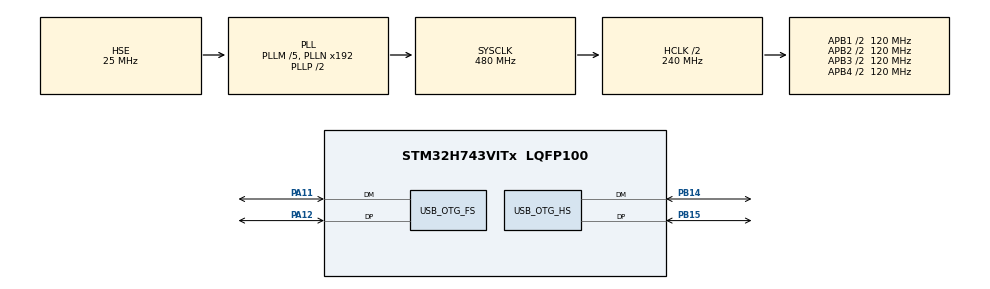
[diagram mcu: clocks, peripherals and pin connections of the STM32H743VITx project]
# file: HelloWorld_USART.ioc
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CORTEX_M7.default_mode_Activation=1
Mcu.Family=STM32H7
Mcu.Name=STM32H743VITx
Mcu.Package=LQFP100
NVIC.OTG_FS_IRQn=true\:0\:0\:false\:false\:true\:false\:true\:true
NVIC.OTG_HS_IRQn=true\:0\:0\:false\:false\:true\:false\:true\:true
NVIC.PriorityGroup=NVIC_PRIORITYGROUP_4
NVIC.TIM6_DAC_IRQn=true\:15\:0\:false\:false\:true\:false\:true\:true
NVIC.TimeBase=TIM6_DAC_IRQn
NVIC.TimeBaseIP=TIM6
PA11.Mode=Device_Only
PA11.Signal=USB_OTG_FS_DM
PA12.Mode=Device_Only
PA12.Signal=USB_OTG_FS_DP
PB14.Mode=Device_Only_FS
PB14.Signal=USB_OTG_HS_DM
PB15.Mode=Device_Only_FS
PB15.Signal=USB_OTG_HS_DP
PH0-OSC_IN\ (PH0).Mode=HSE-External-Oscillator
PH0-OSC_IN\ (PH0).Signal=RCC_OSC_IN
PH1-OSC_OUT\ (PH1).Mode=HSE-External-Oscillator
PH1-OSC_OUT\ (PH1).Signal=RCC_OSC_OUT
ProjectManager.HeapSize=0x200
ProjectManager.StackSize=0x400
ProjectManager.TargetToolchain=STM32CubeIDE
RCC.ADCFreq_Value=50390625
RCC.APB1Freq_Value=120000000
RCC.APB2Freq_Value=120000000
RCC.APB3Freq_Value=120000000
RCC.APB4Freq_Value=120000000
RCC.CortexFreq_Value=480000000
RCC.D1PPRE=RCC_APB3_DIV2
RCC.D2PPRE1=RCC_APB1_DIV2
RCC.D2PPRE2=RCC_APB2_DIV2
RCC.D3PPRE=RCC_APB4_DIV2
RCC.DIVM1=5
RCC.DIVN1=192
RCC.DIVQ1=20
RCC.HCLKFreq_Value=240000000
RCC.HPRE=RCC_HCLK_DIV2
RCC.HSE_VALUE=25000000
RCC.PLL2FRACN=0
RCC.PLL3FRACN=0
RCC.PLLFRACN=0
RCC.PLLSourceVirtual=RCC_PLLSOURCE_HSE
RCC.SYSCLKFreq_VALUE=480000000
RCC.SYSCLKSource=RCC_SYSCLKSOURCE_PLLCLK
RCC.USBFreq_Value=48000000
USB_DEVICE.CLASS_NAME_FS=CDC
USB_DEVICE.CLASS_NAME_HS=CDC
USB_DEVICE.VirtualMode-CDC_FS=Cdc
USB_DEVICE.VirtualMode-CDC_HS=Cdc
USB_DEVICE.VirtualModeFS=Cdc_FS
USB_DEVICE.VirtualModeHS=Cdc_HS
USB_OTG_FS.VirtualMode=Device_Only
USB_OTG_HS.VirtualMode-Device_Only_FS=Device_Only_FS
VP_MEMORYMAP_VS_MEMORYMAP.Mode=CurAppReg
VP_SYS_VS_tim6.Mode=TIM6
VP_USB_DEVICE_VS_USB_DEVICE_CDC_FS.Mode=CDC_FS
VP_USB_DEVICE_VS_USB_DEVICE_CDC_HS.Mode=CDC_HS
board=custom

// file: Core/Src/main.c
/* USER CODE BEGIN Header */
/**
 ******************************************************************************
 * @file           : main.c
 * @brief          : Main program body
 ******************************************************************************
 * @attention
 *
 * Copyright (c) 2026 STMicroelectronics.
 * All rights reserved.
 *
 * This software is licensed under terms that can be found in the LICENSE file
 * in the root directory of this software component.
 * If no LICENSE file comes with this software, it is provided AS-IS.
 *
 ******************************************************************************
 */
/* USER CODE END Header */
#include "main.h"
#include "usb_device.h"

/* USER CODE BEGIN Includes */
#include "usbd_cdc_if.h"
#include <stdio.h>
#include <string.h>

/* USER CODE END Includes */

/* USER CODE BEGIN PV */
#define CMD_BUF_SIZE 64

char usb_cmd[CMD_BUF_SIZE];
volatile uint8_t usb_cmd_ready = 0;
volatile uint8_t counter_enabled =
    0; // Accessible from CDC driver to suppress echo
volatile uint8_t session_started =
    0; // Flag to track if welcome banner was shown
/* USER CODE END PV */

void SystemClock_Config(void);
static void MPU_Config(void);
static void MX_GPIO_Init(void);

/* USER CODE BEGIN 0 */
// Helper function to wait until USB is free
void CDC_Send_Wait(const char *ptr, uint16_t len) {
  uint32_t start = HAL_GetTick();
  // Wait for USBD to be free or timeout after 10ms
  extern USBD_HandleTypeDef hUsbDeviceFS;
  USBD_CDC_HandleTypeDef *hcdc =
      (USBD_CDC_HandleTypeDef *)hUsbDeviceFS.pClassData;

  while (hcdc->TxState != 0 && (HAL_GetTick() - start < 10))
    ;

  CDC_Transmit_FS((uint8_t *)ptr, len);
}
/* USER CODE END 0 */

int main(void) {

  /* MPU Configuration--------------------------------------------------------*/
  MPU_Config();

  /* MCU Configuration--------------------------------------------------------*/

  /* Reset of all peripherals, Initializes the Flash interface and the Systick.
   */
  HAL_Init();

  /* Configure the system clock */
  SystemClock_Config();

  /* Initialize all configured peripherals */
  MX_GPIO_Init();
  MX_USB_DEVICE_Init();
  /* USER CODE BEGIN 2 */
  uint32_t counter = 0;
  uint32_t last_tick = 0;
  /* USER CODE END 2 */

  while (1) {
    if (usb_cmd_ready) {
      usb_cmd_ready = 0;

      // Print welcome banner on first interaction
      if (!session_started) {
        session_started = 1;
        const char *banner = "\r\n"
                             "========================================\r\n"
                             "   STM32 USB Serial Terminal v1.0\r\n"
                             "========================================\r\n"
                             "Commands: start, stop, status, exit\r\n"
                             "Press Ctrl+C to stop counter\r\n"
                             "========================================\r\n"
                             "\r\n";
        CDC_Send_Wait(banner, strlen(banner));
        HAL_Delay(5);
      }

      // 1. Check for Empty Command (User just pressed Enter)
      if (strlen(usb_cmd) == 0) {
        // User just hit Enter. ISR already printed \r\n.
        // We just print the prompt again.
        CDC_Transmit_FS((uint8_t *)"> ", 2);
        continue;
      }

      if (strcmp(usb_cmd, "start") == 0) {
        counter_enabled = 1;
        CDC_Transmit_FS((uint8_t *)"Counter started\r\n", 17);
      } else if (strcmp(usb_cmd, "stop") == 0) {
        counter_enabled = 0;
        CDC_Transmit_FS((uint8_t *)"Counter stopped\r\n", 17);
      } else if (strcmp(usb_cmd, "exit") == 0) {
        counter_enabled = 0;
        CDC_Transmit_FS((uint8_t *)"Exited loop mode\r\n", 18);
      } else if (strcmp(usb_cmd, "status") == 0) {
        char msg[50];
        sprintf(msg, "Counter=%lu, Enabled=%d\r\n", counter, counter_enabled);
        CDC_Transmit_FS((uint8_t *)msg, strlen(msg));
      } else {
        CDC_Transmit_FS((uint8_t *)"Unknown command\r\n", 17);
      }

      // Clean buffer and reprint prompt
      memset(usb_cmd, 0, sizeof(usb_cmd));

      // Wait a tiny bit to ensure previous message sent (simple flow control)
      HAL_Delay(2);

      // Print the prompt for the next line
      CDC_Transmit_FS((uint8_t *)"> ", 2);
    }

    /* ---- Non-blocking counter ---- */
    if (counter_enabled && (HAL_GetTick() - last_tick >= 1000)) {
      last_tick = HAL_GetTick();
      counter++;

      // Clear current line and print counter cleanly (no prompt)
      char msg[64];
      sprintf(msg, "\rCounter: %lu                    \r\n", counter);
      CDC_Send_Wait(msg, strlen(msg));
    }
  }
  /* USER CODE END 3 */
}

void SystemClock_Config(void) {
  RCC_OscInitTypeDef RCC_OscInitStruct = {0};
  RCC_ClkInitTypeDef RCC_ClkInitStruct = {0};

  /** Supply configuration update enable
   */
  HAL_PWREx_ConfigSupply(PWR_LDO_SUPPLY);

  /** Configure the main internal regulator output voltage
   */
  __HAL_PWR_VOLTAGESCALING_CONFIG(PWR_REGULATOR_VOLTAGE_SCALE0);

  while (!__HAL_PWR_GET_FLAG(PWR_FLAG_VOSRDY)) {
  }

  /** Initializes the RCC Oscillators according to the specified parameters
   * in the RCC_OscInitTypeDef structure.
   */
  RCC_OscInitStruct.OscillatorType = RCC_OSCILLATORTYPE_HSE;
  RCC_OscInitStruct.HSEState = RCC_HSE_ON;
  RCC_OscInitStruct.PLL.PLLState = RCC_PLL_ON;
  RCC_OscInitStruct.PLL.PLLSource = RCC_PLLSOURCE_HSE;
  RCC_OscInitStruct.PLL.PLLM = 5;
  RCC_OscInitStruct.PLL.PLLN = 192;
  RCC_OscInitStruct.PLL.PLLP = 2;
  RCC_OscInitStruct.PLL.PLLQ = 20;
  RCC_OscInitStruct.PLL.PLLR = 2;
  RCC_OscInitStruct.PLL.PLLRGE = RCC_PLL1VCIRANGE_2;
  RCC_OscInitStruct.PLL.PLLVCOSEL = RCC_PLL1VCOWIDE;
  RCC_OscInitStruct.PLL.PLLFRACN = 0;
  if (HAL_RCC_OscConfig(&RCC_OscInitStruct) != HAL_OK) {
    Error_Handler();
  }

  /** Initializes the CPU, AHB and APB buses clocks
   */
  RCC_ClkInitStruct.ClockType = RCC_CLOCKTYPE_HCLK | RCC_CLOCKTYPE_SYSCLK |
                                RCC_CLOCKTYPE_PCLK1 | RCC_CLOCKTYPE_PCLK2 |
                                RCC_CLOCKTYPE_D3PCLK1 | RCC_CLOCKTYPE_D1PCLK1;
  RCC_ClkInitStruct.SYSCLKSource = RCC_SYSCLKSOURCE_PLLCLK;
  RCC_ClkInitStruct.SYSCLKDivider = RCC_SYSCLK_DIV1;
  RCC_ClkInitStruct.AHBCLKDivider = RCC_HCLK_DIV2;
  RCC_ClkInitStruct.APB3CLKDivider = RCC_APB3_DIV2;
  RCC_ClkInitStruct.APB1CLKDivider = RCC_APB1_DIV2;
  RCC_ClkInitStruct.APB2CLKDivider = RCC_APB2_DIV2;
  RCC_ClkInitStruct.APB4CLKDivider = RCC_APB4_DIV2;

  if (HAL_RCC_ClockConfig(&RCC_ClkInitStruct, FLASH_LATENCY_4) != HAL_OK) {
    Error_Handler();
  }
}

static void MX_GPIO_Init(void) {

  /* GPIO Ports Clock Enable */
  __HAL_RCC_GPIOH_CLK_ENABLE();
  __HAL_RCC_GPIOB_CLK_ENABLE();

}

/* MPU Configuration */

void MPU_Config(void) {
  MPU_Region_InitTypeDef MPU_InitStruct = {0};

  /* Disables the MPU */
  HAL_MPU_Disable();

  /** Initializes and configures the Region and the memory to be protected
   */
  MPU_InitStruct.Enable = MPU_REGION_ENABLE;
  MPU_InitStruct.Number = MPU_REGION_NUMBER0;
  MPU_InitStruct.BaseAddress = 0x0;
  MPU_InitStruct.Size = MPU_REGION_SIZE_4GB;
  MPU_InitStruct.SubRegionDisable = 0x87;
  MPU_InitStruct.TypeExtField = MPU_TEX_LEVEL0;
  MPU_InitStruct.AccessPermission = MPU_REGION_NO_ACCESS;
  MPU_InitStruct.DisableExec = MPU_INSTRUCTION_ACCESS_DISABLE;
  MPU_InitStruct.IsShareable = MPU_ACCESS_SHAREABLE;
  MPU_InitStruct.IsCacheable = MPU_ACCESS_NOT_CACHEABLE;
  MPU_InitStruct.IsBufferable = MPU_ACCESS_NOT_BUFFERABLE;

  HAL_MPU_ConfigRegion(&MPU_InitStruct);
  /* Enables the MPU */
  HAL_MPU_Enable(MPU_PRIVILEGED_DEFAULT);
}

void HAL_TIM_PeriodElapsedCallback(TIM_HandleTypeDef *htim) {
  if (htim->Instance == TIM6) {
    HAL_IncTick();
  }
}

void Error_Handler(void) {
  __disable_irq();
  while (1) {
  }
}
#ifdef USE_FULL_ASSERT
/**
 * @brief  Reports the name of the source file and the source line number
 *         where the assert_param error has occurred.
 * @param  file: pointer to the source file name
 * @param  line: assert_param error line source number
 * @retval None
 */
void assert_failed(uint8_t *file, uint32_t line) {
  /* USER CODE BEGIN 6 */
  /* User can add his own implementation to report the file name and line
     number, ex: printf("Wrong parameters value: file %s on line %d\r\n", file,
     line) */
  /* USER CODE END 6 */
}
#endif /* USE_FULL_ASSERT */
